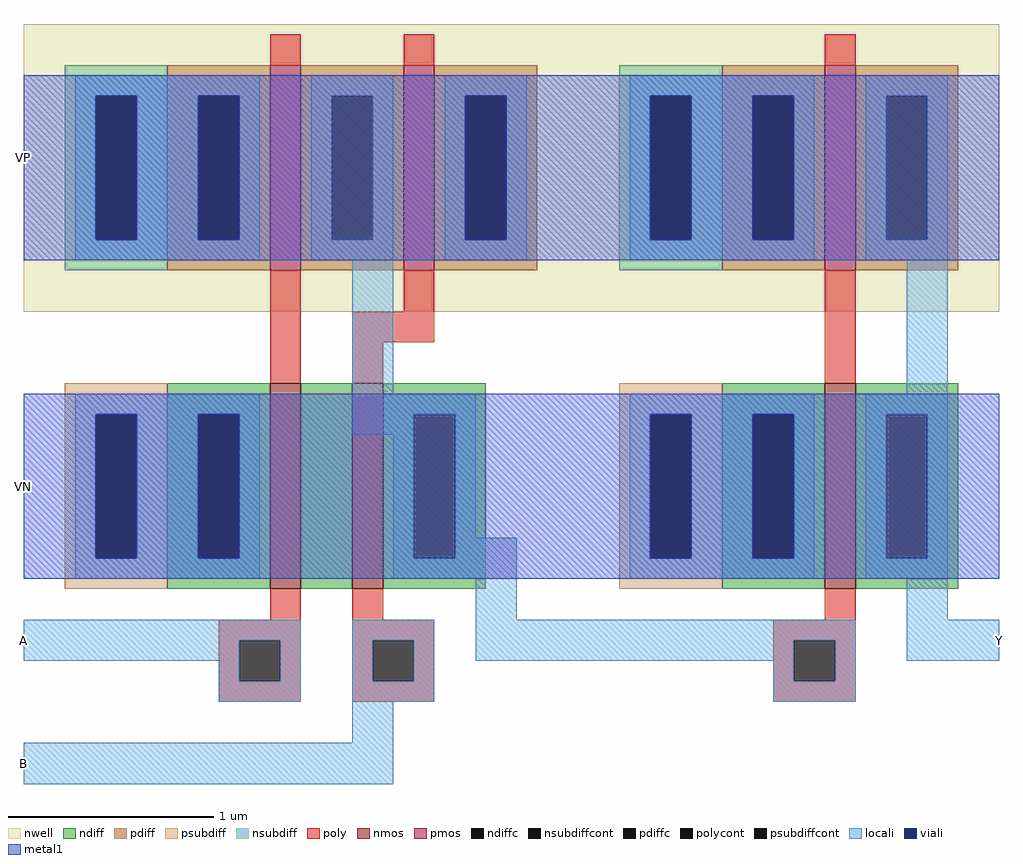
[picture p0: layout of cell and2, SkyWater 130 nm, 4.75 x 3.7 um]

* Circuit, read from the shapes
.subckt and2 A B VN VP Y
XM1 n1 A VN VN sky130_fd_pr__nfet_01v8 w=1 l=0.15
XM2 inverter_0/A B n1 VN sky130_fd_pr__nfet_01v8 w=1 l=0.15
XM3 Y inverter_0/A VN VN sky130_fd_pr__nfet_01v8 w=1 l=0.15
XM4 inverter_0/A A VP VP sky130_fd_pr__pfet_01v8 w=1 l=0.15
XM5 VP B inverter_0/A VP sky130_fd_pr__pfet_01v8 w=1 l=0.15
XM6 Y inverter_0/A VP VP sky130_fd_pr__pfet_01v8 w=1 l=0.15
.ends

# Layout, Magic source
magic
tech sky130A
<< locali >>
rect 0 60 20 80
rect 455 60 475 80
rect 0 0 20 20
<< metal1 >>
rect 0 255 20 345
rect 0 100 20 190
use inverter  inverter_0 ~/Documents/miniproject_01/layout
transform 1 0 440 0 1 120
box -170 -80 35 250
use nand2  nand2_0
transform 1 0 140 0 1 300
box -140 -300 130 70
<< labels >>
rlabel locali 0 70 0 70 7 A
rlabel locali 0 10 0 10 7 B
rlabel locali 475 70 475 70 3 Y
rlabel metal1 0 305 0 305 7 VP
rlabel metal1 0 145 0 145 7 VN
<< end >>

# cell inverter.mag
magic
tech sky130A
<< nwell >>
rect -170 110 35 250
<< nmos >>
rect -50 -25 -35 75
<< pmos >>
rect -50 130 -35 230
<< ndiff >>
rect -100 60 -50 75
rect -100 -10 -85 60
rect -65 -10 -50 60
rect -100 -25 -50 -10
rect -35 60 15 75
rect -35 -10 -20 60
rect 0 -10 15 60
rect -35 -25 15 -10
<< pdiff >>
rect -100 215 -50 230
rect -100 145 -85 215
rect -65 145 -50 215
rect -100 130 -50 145
rect -35 215 15 230
rect -35 145 -20 215
rect 0 145 15 215
rect -35 130 15 145
<< ndiffc >>
rect -85 -10 -65 60
rect -20 -10 0 60
<< pdiffc >>
rect -85 145 -65 215
rect -20 145 0 215
<< psubdiff >>
rect -150 60 -100 75
rect -150 -10 -135 60
rect -115 -10 -100 60
rect -150 -25 -100 -10
<< nsubdiff >>
rect -150 215 -100 230
rect -150 145 -135 215
rect -115 145 -100 215
rect -150 130 -100 145
<< psubdiffcont >>
rect -135 -10 -115 60
<< nsubdiffcont >>
rect -135 145 -115 215
<< poly >>
rect -50 230 -35 245
rect -50 75 -35 130
rect -50 -40 -35 -25
rect -75 -50 -35 -40
rect -75 -70 -65 -50
rect -45 -70 -35 -50
rect -75 -80 -35 -70
<< polycont >>
rect -65 -70 -45 -50
<< locali >>
rect -145 215 -55 225
rect -145 145 -135 215
rect -115 145 -85 215
rect -65 145 -55 215
rect -145 135 -55 145
rect -30 215 10 225
rect -30 145 -20 215
rect 0 145 10 215
rect -30 135 10 145
rect -10 70 10 135
rect -145 60 -55 70
rect -145 -10 -135 60
rect -115 -10 -85 60
rect -65 -10 -55 60
rect -145 -20 -55 -10
rect -30 60 10 70
rect -30 -10 -20 60
rect 0 -10 10 60
rect -30 -20 10 -10
rect -10 -40 10 -20
rect -170 -50 -35 -40
rect -170 -60 -65 -50
rect -75 -70 -65 -60
rect -45 -70 -35 -50
rect -10 -60 35 -40
rect -75 -80 -35 -70
<< viali >>
rect -135 145 -115 215
rect -85 145 -65 215
rect -135 -10 -115 60
rect -85 -10 -65 60
<< metal1 >>
rect -170 215 35 225
rect -170 145 -135 215
rect -115 145 -85 215
rect -65 145 35 215
rect -170 135 35 145
rect -170 60 35 70
rect -170 -10 -135 60
rect -115 -10 -85 60
rect -65 -10 35 60
rect -170 -20 35 -10
<< labels >>
rlabel locali -170 -50 -170 -50 7 A
port 1 w
rlabel locali 35 -50 35 -50 3 Y
port 2 e
rlabel metal1 -170 180 -170 180 7 VP
port 3 w
rlabel metal1 -170 25 -170 25 7 VN
port 4 w
<< end >>

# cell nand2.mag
magic
tech sky130A
<< nwell >>
rect -140 -70 130 70
<< nmos >>
rect -20 -205 -5 -105
rect 20 -205 35 -105
<< pmos >>
rect -20 -50 -5 50
rect 45 -50 60 50
<< ndiff >>
rect -70 -120 -20 -105
rect -70 -190 -55 -120
rect -35 -190 -20 -120
rect -70 -205 -20 -190
rect -5 -205 20 -105
rect 35 -120 85 -105
rect 35 -190 50 -120
rect 70 -190 85 -120
rect 35 -205 85 -190
<< pdiff >>
rect -70 35 -20 50
rect -70 -35 -55 35
rect -35 -35 -20 35
rect -70 -50 -20 -35
rect -5 35 45 50
rect -5 -35 10 35
rect 30 -35 45 35
rect -5 -50 45 -35
rect 60 35 110 50
rect 60 -35 75 35
rect 95 -35 110 35
rect 60 -50 110 -35
<< ndiffc >>
rect -55 -190 -35 -120
rect 50 -190 70 -120
<< pdiffc >>
rect -55 -35 -35 35
rect 10 -35 30 35
rect 75 -35 95 35
<< psubdiff >>
rect -120 -120 -70 -105
rect -120 -190 -105 -120
rect -85 -190 -70 -120
rect -120 -205 -70 -190
<< nsubdiff >>
rect -120 35 -70 50
rect -120 -35 -105 35
rect -85 -35 -70 35
rect -120 -50 -70 -35
<< psubdiffcont >>
rect -105 -190 -85 -120
<< nsubdiffcont >>
rect -105 -35 -85 35
<< poly >>
rect -20 50 -5 65
rect 45 50 60 65
rect -20 -105 -5 -50
rect 45 -70 60 -50
rect 20 -85 60 -70
rect 20 -105 35 -85
rect -20 -220 -5 -205
rect -45 -230 -5 -220
rect -45 -250 -35 -230
rect -15 -250 -5 -230
rect -45 -260 -5 -250
rect 20 -220 35 -205
rect 20 -230 60 -220
rect 20 -250 30 -230
rect 50 -250 60 -230
rect 20 -260 60 -250
<< polycont >>
rect -35 -250 -15 -230
rect 30 -250 50 -230
<< locali >>
rect -115 35 -25 45
rect -115 -35 -105 35
rect -85 -35 -55 35
rect -35 -35 -25 35
rect -115 -45 -25 -35
rect 0 35 40 45
rect 0 -35 10 35
rect 30 -35 40 35
rect 0 -45 40 -35
rect 65 35 105 45
rect 65 -35 75 35
rect 95 -35 105 35
rect 65 -45 105 -35
rect 20 -110 40 -45
rect -115 -120 -25 -110
rect -115 -190 -105 -120
rect -85 -190 -55 -120
rect -35 -190 -25 -120
rect 20 -120 80 -110
rect 20 -130 50 -120
rect -115 -200 -25 -190
rect 40 -190 50 -130
rect 70 -180 80 -120
rect 70 -190 100 -180
rect 40 -200 100 -190
rect 80 -220 100 -200
rect -140 -230 -5 -220
rect -140 -240 -35 -230
rect -45 -250 -35 -240
rect -15 -250 -5 -230
rect -45 -260 -5 -250
rect 20 -230 60 -220
rect 20 -250 30 -230
rect 50 -250 60 -230
rect 80 -240 130 -220
rect 20 -260 60 -250
rect 20 -280 40 -260
rect -140 -300 40 -280
<< viali >>
rect -105 -35 -85 35
rect -55 -35 -35 35
rect 75 -35 95 35
rect -105 -190 -85 -120
rect -55 -190 -35 -120
<< metal1 >>
rect -140 35 130 45
rect -140 -35 -105 35
rect -85 -35 -55 35
rect -35 -35 75 35
rect 95 -35 130 35
rect -140 -45 130 -35
rect -140 -120 130 -110
rect -140 -190 -105 -120
rect -85 -190 -55 -120
rect -35 -190 130 -120
rect -140 -200 130 -190
<< labels >>
rlabel locali -140 -230 -140 -230 7 A
port 1 w
rlabel locali -140 -290 -140 -290 7 B
port 2 w
rlabel locali 130 -230 130 -230 3 Y
port 3 e
rlabel metal1 -140 0 -140 0 7 VP
port 4 w
rlabel metal1 -140 -155 -140 -155 7 VN
port 5 w
<< end >>
